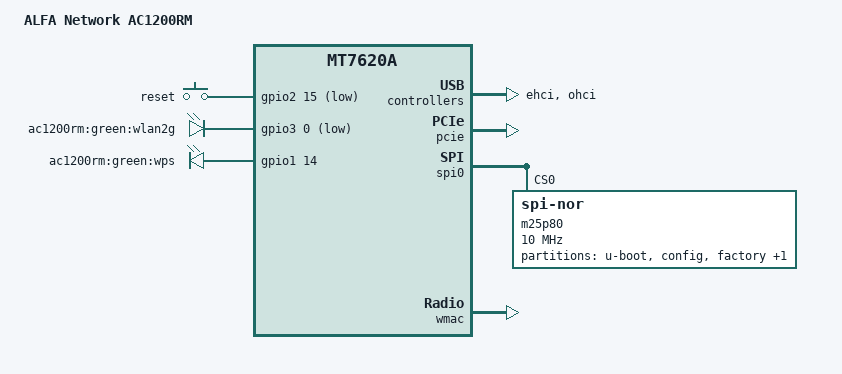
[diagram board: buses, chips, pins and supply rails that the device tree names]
/dts-v1/;

#include "mt7620a.dtsi"

#include <dt-bindings/gpio/gpio.h>
#include <dt-bindings/input/input.h>

/ {
	compatible = "alfa-network,ac1200rm", "ralink,mt7620a-soc";
	model = "ALFA Network AC1200RM";

	chosen {
		bootargs = "console=ttyS0,115200";
	};

	gpio-keys-polled {
		compatible = "gpio-keys-polled";
		#address-cells = <1>;
		#size-cells = <0>;
		poll-interval = <20>;

		reset {
			label = "reset";
			gpios = <&gpio2 15 GPIO_ACTIVE_LOW>;
			linux,code = <KEY_RESTART>;
		};
	};

	gpio-leds {
		compatible = "gpio-leds";

		wlan2g {
			label = "ac1200rm:green:wlan2g";
			gpios = <&gpio3 0 GPIO_ACTIVE_LOW>;
		};

		wps {
			label = "ac1200rm:green:wps";
			gpios = <&gpio1 14 GPIO_ACTIVE_HIGH>;
		};
	};
};

&ehci {
	status = "okay";
};

&ethernet {
	mtd-mac-address = <&factory 0x28>;
	mediatek,portmap = "llllw";
	pinctrl-names = "default";
	pinctrl-0 = <&ephy_pins>;
};

&gpio1 {
	status = "okay";
};

&gpio2 {
	status = "okay";
};

&gpio3 {
	status = "okay";
};

&gsw {
	mediatek,port4 = "ephy";
};

&ohci {
	status = "okay";
};

&pcie {
	status = "okay";

	pcie-bridge {
		mt76@0,0 {
			reg = <0x0000 0 0 0 0>;
			device_type = "pci";
			mediatek,mtd-eeprom = <&factory 0x8000>;
			ieee80211-freq-limit = <5000000 6000000>;

			led {
				led-sources = <2>;
				led-active-low;
			};
		};
	};
};

&pinctrl {
	state_default: pinctrl0 {
		gpio {
			ralink,group = "nd_sd", "spi refclk", "wled";
			ralink,function = "gpio";
		};
	};
};

&spi0 {
	status = "okay";

	m25p80@0 {
		#address-cells = <1>;
		#size-cells = <1>;
		compatible = "jedec,spi-nor";
		reg = <0>;
		spi-max-frequency = <10000000>;

		partition@0 {
			label = "u-boot";
			reg = <0x0 0x30000>;
			read-only;
		};

		partition@30000 {
			label = "config";
			reg = <0x30000 0x10000>;
			read-only;
		};

		factory: partition@40000 {
			label = "factory";
			reg = <0x40000 0x10000>;
			read-only;
		};

		partition@50000 {
			label = "firmware";
			reg = <0x50000 0xfb0000>;
		};
	};
};

&wmac {
	ralink,mtd-eeprom = <&factory 0>;
};
